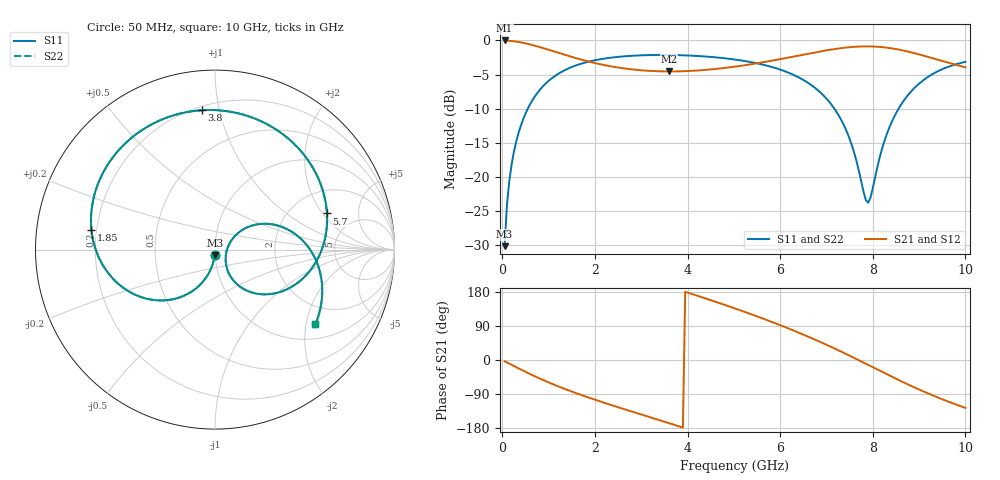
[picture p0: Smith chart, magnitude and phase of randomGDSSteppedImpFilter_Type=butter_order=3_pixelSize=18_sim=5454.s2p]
! freq	dB(S11)	phase(S11)	dB(S12)	phase(S12)
!  dB(S21)	phase(S21)	dB(S22)	phase(S22)
!S-par simulation data
#  GHz  S  DB  R 50
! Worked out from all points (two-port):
!   200 points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, 50 MHz to 10 GHz, reference 50 ohm
!   highest |S21| = -0.01 dB at 50 MHz (marker M1); lowest = -4.5 dB at 3.6 GHz (marker M2)
!   |S21| within 3 dB of the highest: start of sweep to 1.815 GHz; 5.79 GHz to 9.496 GHz (3.706 GHz wide, 48.5 % of centre)
!   lowest |S11| = -30.1 dB at 50 MHz (marker M3), VSWR 1.06, Z = 49.7 - j3.1 ohm
!   |S11| at or under -10 dB: start of sweep to 550 MHz; 7.172 GHz to 8.557 GHz (1.385 GHz wide, 17.6 % of centre)
!   |S22| runs from -30.1 to -2.1 dB; largest |S21 - S12| = 0
!   S11 on the Smith chart (normalised r, x): 50 MHz: 0.99, -0.06; 1.85 GHz: 0.18, +0.08; 3.8 GHz: 0.22, +0.89; 5.7 GHz: 3.13, +2.21; 10 GHz: 1.40, -2.27
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0.05  -30.11 -93.4  -0.01 -3.2  -0.01 -3.2  -30.11 -93.4
0.1  -24.13 -96.8  -0.03 -6.4  -0.03 -6.4  -24.13 -96.8
0.2  -18.21 -103.3  -0.09 -12.8  -0.09 -12.8  -18.21 -103.3
0.5  -10.73 -121.7  -0.43 -31.2  -0.43 -31.2  -10.73 -121.7
1.05  -5.64 -152.2  -1.48 -61.7  -1.48 -61.7  -5.64 -152.2
1.75  -3.31 175.1  -2.89 -94.3  -2.89 -94.3  -3.31 175.1
1.85  -3.13 170.9  -3.07 -98.5  -3.07 -98.5  -3.13 170.9
2.55  -2.38 142.9  -4.02 -126.5  -4.02 -126.5  -2.38 142.9
3.4  -2.13 110.6  -4.52 -158.9  -4.52 -158.9  -2.13 110.6
3.6  -2.13 103.0  -4.54 -166.5  -4.54 -166.5  -2.13 103.0
3.8  -2.16 95.4  -4.53 -174.2  -4.53 -174.2  -2.16 95.4
4.4  -2.36 72.0  -4.31 162.1  -4.31 162.1  -2.36 72.1
5.05  -2.83 45.7  -3.82 135.0  -3.82 135.0  -2.83 45.7
5.7  -3.67 17.9  -3.12 106.1  -3.12 106.1  -3.67 17.9
6.25  -4.92 -6.9  -2.42 79.7  -2.42 79.7  -4.92 -6.9
6.7  -6.67 -27.8  -1.82 56.6  -1.82 56.6  -6.67 -27.8
7.4  -12.75 -57.5  -1.06 17.3  -1.06 17.3  -12.76 -57.5
7.9  -23.75 -9.7  -0.87 -12.8  -0.87 -12.8  -23.77 -9.6
8.35  -12.88 34.2  -1.10 -40.4  -1.10 -40.4  -12.88 34.2
9.05  -6.05 4.8  -2.14 -80.6  -2.14 -80.6  -6.05 4.8
9.5  -4.21 -15.6  -3.02 -103.6  -3.02 -103.6  -4.21 -15.6
10  -3.14 -36.6  -3.93 -126.4  -3.93 -126.4  -3.14 -36.6
